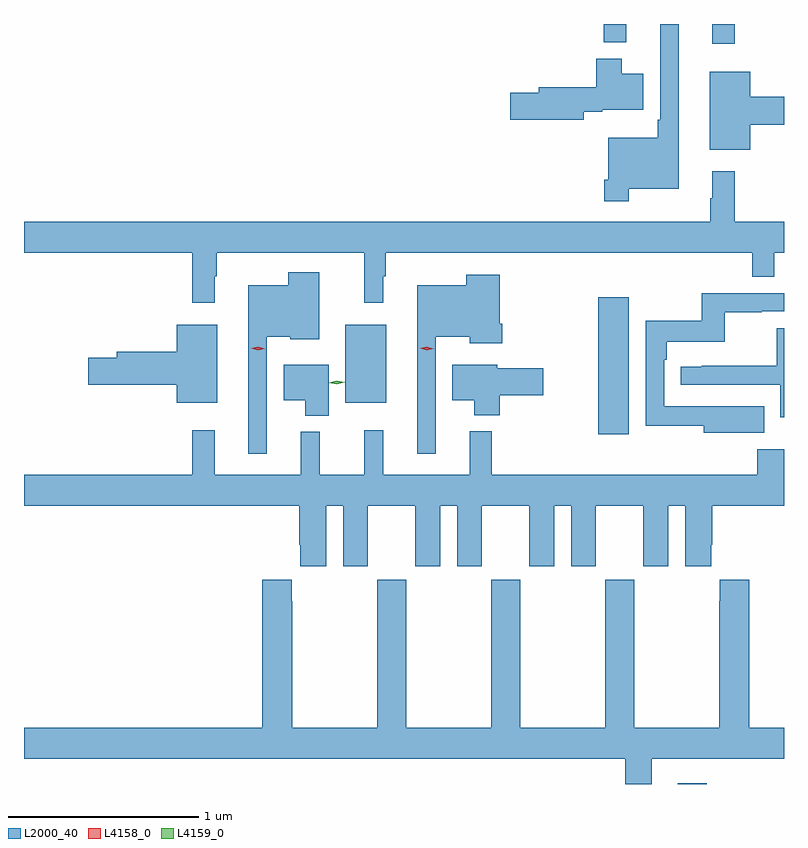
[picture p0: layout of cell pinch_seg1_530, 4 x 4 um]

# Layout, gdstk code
import gdstk
lib = gdstk.Library(unit=1e-6, precision=1e-09)
def R(c, l, rs):  # rectangles x0, y0, x1, y1
    for r in rs: c.add(gdstk.rectangle(r[:2], r[2:], *l))
def P(c, l, *ps):  # polygons
    for p in ps: c.add(gdstk.Polygon(p, *l))
L2000_40 = (2000, 40)
L4158_0 = (4158, 0)
L4159_0 = (4159, 0)

pinch_seg1_530 = lib.new_cell('pinch_seg1_530')
R(pinch_seg1_530, L2000_40, [(1075.085,522.296,1075.238,522.301), (1074.668,524.136,1074.829,524.857), (1073.336,524.303,1073.551,524.713), (1075.268,526.191,1075.385,526.296), (1074.697,526.199,1074.815,526.296)])
P(pinch_seg1_530, L2000_40, [(1074.829,525.428),(1075.09,525.428),(1075.09,526.296),(1074.993,526.296),(1074.993,525.793),(1074.981,525.793),(1074.981,525.697),(1074.72,525.697),(1074.72,525.475),(1074.7,525.475),(1074.7,525.363),(1074.829,525.363)],
  [(1074.592,525.833),(1074.688,525.833),(1074.688,525.845),(1074.904,525.845),(1074.904,526.033),(1074.79,526.033),(1074.79,526.114),(1074.656,526.114),(1074.656,525.963),(1074.353,525.963),(1074.353,525.933),(1074.204,525.933),(1074.204,525.791),(1074.592,525.791)],
  [(1075.468,525.767),(1075.645,525.767),(1075.645,525.914),(1075.468,525.914),(1075.468,526.045),(1075.253,526.045),(1075.253,525.635),(1075.468,525.635)],
  [(1072.648,524.969),(1072.66,524.969),(1072.66,525.092),(1073.437,525.092),(1073.437,524.829),(1073.536,524.829),(1073.536,524.969),(1073.548,524.969),(1073.548,525.092),(1075.477,525.092),(1075.477,524.965),(1075.593,524.965),(1075.593,525.092),(1075.645,525.092),(1075.645,525.256),(1075.385,525.256),(1075.385,525.52),(1075.268,525.52),(1075.268,525.38),(1075.257,525.38),(1075.257,525.256),(1071.645,525.256),(1071.645,525.092),(1072.531,525.092),(1072.531,524.829),(1072.648,524.829)],
  [(1072.923,524.651),(1073.046,524.651),(1073.046,524.636),(1073.2,524.636),(1073.2,524.989),(1073.035,524.989),(1073.035,524.92),(1072.826,524.92),(1072.826,524.034),(1072.923,524.034)],
  [(1073.811,524.651),(1073.99,524.651),(1073.99,524.615),(1074.161,524.615),(1074.161,524.719),(1074.148,524.719),(1074.148,524.977),(1073.973,524.977),(1073.973,524.92),(1073.714,524.92),(1073.714,524.034),(1073.811,524.034)],
  [(1075.541,524.284),(1075.327,524.284),(1075.327,524.283),(1075.014,524.283),(1075.014,524.528),(1075.028,524.528),(1075.028,524.624),(1075.333,524.624),(1075.333,524.779),(1075.529,524.779),(1075.529,524.784),(1075.645,524.784),(1075.645,524.88),(1075.212,524.88),(1075.212,524.734),(1074.918,524.734),(1074.918,524.182),(1075.223,524.182),(1075.223,524.144),(1075.541,524.144)],
  [(1072.663,524.713),(1072.448,524.713),(1072.448,524.57),(1072.133,524.57),(1072.133,524.54),(1071.984,524.54),(1071.984,524.398),(1072.448,524.398),(1072.448,524.303),(1072.663,524.303)],
  [(1075.645,524.694),(1075.606,524.694),(1075.606,524.498),(1075.213,524.498),(1075.213,524.493),(1075.101,524.493),(1075.101,524.397),(1075.626,524.397),(1075.626,524.225),(1075.645,524.225)],
  [(1073.248,524.503),(1073.012,524.503),(1073.012,524.315),(1073.126,524.315),(1073.126,524.234),(1073.248,524.234)],
  [(1074.149,524.341),(1074.379,524.341),(1074.379,524.483),(1074.136,524.483),(1074.136,524.503),(1073.9,524.503),(1073.9,524.315),(1074.014,524.315),(1074.014,524.237),(1074.149,524.237)],
  [(1073.236,523.76),(1073.324,523.76),(1073.324,523.443),(1073.455,523.443),(1073.455,523.76),(1073.705,523.76),(1073.705,523.443),(1073.836,523.443),(1073.836,523.76),(1073.924,523.76),(1073.924,523.443),(1074.055,523.443),(1074.055,523.76),(1074.305,523.76),(1074.305,523.443),(1074.436,523.443),(1074.436,523.76),(1074.524,523.76),(1074.524,523.443),(1074.655,523.443),(1074.655,523.76),(1074.905,523.76),(1074.905,523.443),(1075.036,523.443),(1075.036,523.76),(1075.124,523.76),(1075.124,523.443),(1075.261,523.443),(1075.261,523.555),(1075.268,523.555),(1075.268,523.76),(1075.645,523.76),(1075.645,524.059),(1075.505,524.059),(1075.505,523.924),(1074.107,523.924),(1074.107,524.152),(1073.99,524.152),(1073.99,523.924),(1073.537,523.924),(1073.537,524.158),(1073.437,524.158),(1073.437,523.924),(1073.202,523.924),(1073.202,524.149),(1073.102,524.149),(1073.102,523.924),(1072.649,523.924),(1072.649,524.158),(1072.531,524.158),(1072.531,523.924),(1071.645,523.924),(1071.645,523.76),(1073.093,523.76),(1073.093,523.555),(1073.099,523.555),(1073.099,523.443),(1073.236,523.443)],
  [(1074.949,522.428),(1075.645,522.428),(1075.645,522.592),(1075.463,522.592),(1075.463,523.371),(1075.307,523.371),(1075.307,523.259),(1075.303,523.259),(1075.303,522.592),(1074.858,522.592),(1074.858,523.371),(1074.703,523.371),(1074.703,522.592),(1074.258,522.592),(1074.258,523.371),(1074.103,523.371),(1074.103,522.592),(1073.658,522.592),(1073.658,523.371),(1073.503,523.371),(1073.503,522.592),(1073.058,522.592),(1073.058,523.259),(1073.053,523.259),(1073.053,523.371),(1072.898,523.371),(1072.898,522.592),(1071.645,522.592),(1071.645,522.428),(1074.809,522.428),(1074.809,522.296),(1074.949,522.296)])
P(pinch_seg1_530, L4158_0, [(1073.764,524.578),(1073.73,524.589),(1073.729,524.59),(1073.73,524.59),(1073.766,524.598),(1073.8,524.586),(1073.801,524.586),(1073.8,524.586)],
  [(1072.876,524.578),(1072.841,524.59),(1072.841,524.59),(1072.841,524.59),(1072.877,524.598),(1072.912,524.587),(1072.912,524.587),(1072.912,524.587)])
P(pinch_seg1_530, L4159_0, [(1073.292,524.399),(1073.25,524.407),(1073.25,524.407),(1073.25,524.407),(1073.291,524.419),(1073.332,524.411),(1073.332,524.411),(1073.332,524.41)])

lib.write_gds('pinch_seg1_530.gds')
